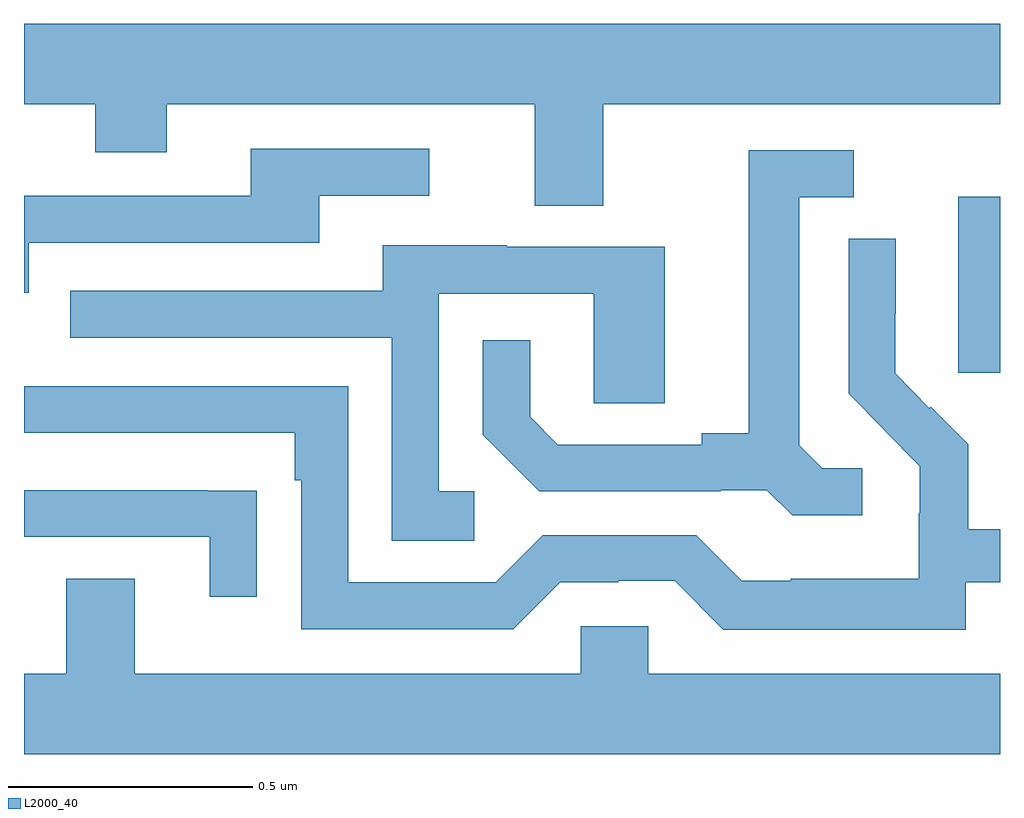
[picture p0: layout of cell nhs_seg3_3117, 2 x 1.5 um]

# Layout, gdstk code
import gdstk
lib = gdstk.Library(unit=1e-6, precision=1e-09)
def R(c, l, rs):  # rectangles x0, y0, x1, y1
    for r in rs: c.add(gdstk.rectangle(r[:2], r[2:], *l))
def P(c, l, *ps):  # polygons
    for p in ps: c.add(gdstk.Polygon(p, *l))
L2000_40 = (2000, 40)

nhs_seg3_3117 = lib.new_cell('nhs_seg3_3117')
R(nhs_seg3_3117, L2000_40, [(150.914,725.673,151,726.034)])
P(nhs_seg3_3117, L2000_40, [(150.187,726.224),(151,726.224),(151,726.388),(149,726.388),(149,726.224),(149.146,726.224),(149.146,726.125),(149.293,726.125),(149.293,726.224),(150.047,726.224),(150.047,726.016),(150.187,726.016)],
  [(149.01,725.94),(149.605,725.94),(149.605,726.036),(149.83,726.036),(149.83,726.132),(149.465,726.132),(149.465,726.036),(149,726.036),(149,725.837),(149.01,725.837)],
  [(150.718,725.478),(150.636,725.478),(150.589,725.525),(150.589,726.033),(150.7,726.033),(150.7,726.129),(150.485,726.129),(150.485,725.549),(150.389,725.549),(150.389,725.526),(150.094,725.526),(150.037,725.583),(150.037,725.74),(149.94,725.74),(149.94,725.546),(150.056,725.43),(150.428,725.43),(150.428,725.433),(150.522,725.433),(150.574,725.381),(150.718,725.381)],
  [(150.93,725.244),(151,725.244),(151,725.353),(150.935,725.353),(150.935,725.527),(150.858,725.604),(150.855,725.601),(150.785,725.672),(150.785,725.794),(150.786,725.794),(150.786,725.948),(150.69,725.948),(150.69,725.63),(150.763,725.557),(150.762,725.556),(150.836,725.482),(150.836,725.385),(150.834,725.385),(150.834,725.251),(150.571,725.251),(150.571,725.247),(150.471,725.247),(150.378,725.34),(150.063,725.34),(149.967,725.244),(149.664,725.244),(149.664,725.646),(149,725.646),(149,725.55),(149.555,725.55),(149.555,725.453),(149.568,725.453),(149.568,725.148),(150.003,725.148),(150.099,725.244),(150.218,725.244),(150.218,725.247),(150.333,725.247),(150.433,725.147),(150.93,725.147)],
  [(149.923,725.43),(149.85,725.43),(149.85,725.835),(150.168,725.835),(150.168,725.611),(150.313,725.611),(150.313,725.931),(149.989,725.931),(149.989,725.935),(149.735,725.935),(149.735,725.841),(149.095,725.841),(149.095,725.745),(149.754,725.745),(149.754,725.329),(149.923,725.329)],
  [(149.477,725.432),(149.375,725.432),(149.375,725.433),(149,725.433),(149,725.337),(149.381,725.337),(149.381,725.214),(149.477,725.214)],
  [(151,725.056),(150.279,725.056),(150.279,725.154),(150.141,725.154),(150.141,725.056),(149.227,725.056),(149.227,725.251),(149.087,725.251),(149.087,725.056),(149,725.056),(149,724.892),(151,724.892)])

lib.write_gds('nhs_seg3_3117.gds')
